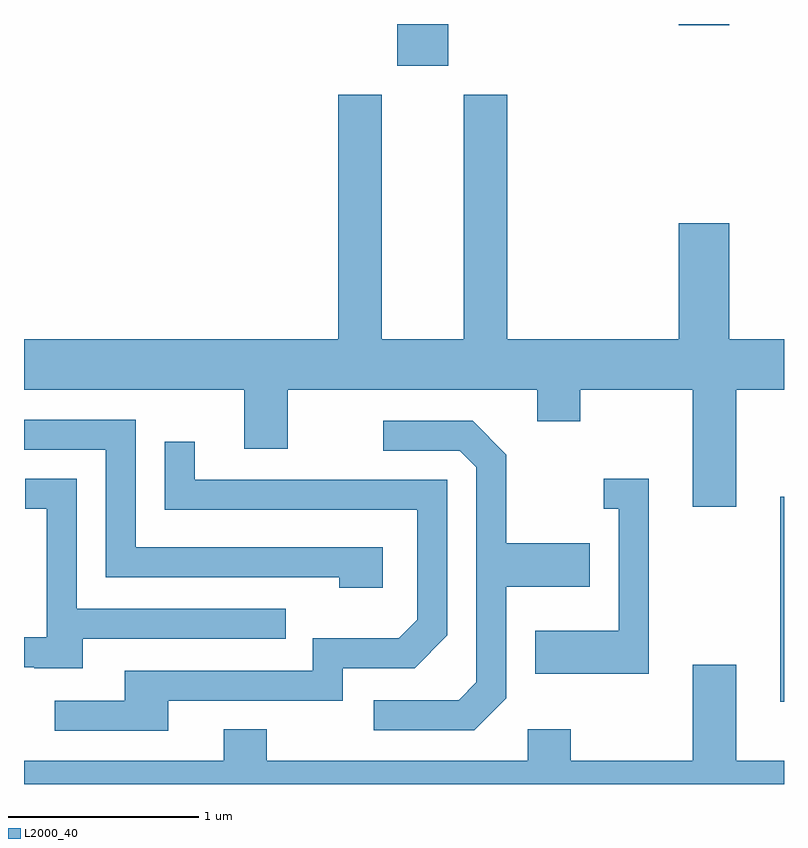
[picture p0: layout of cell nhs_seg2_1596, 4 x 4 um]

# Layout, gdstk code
import gdstk
lib = gdstk.Library(unit=1e-6, precision=1e-09)
def R(c, l, rs):  # rectangles x0, y0, x1, y1
    for r in rs: c.add(gdstk.rectangle(r[:2], r[2:], *l))
def P(c, l, *ps):  # polygons
    for p in ps: c.add(gdstk.Polygon(p, *l))
L2000_40 = (2000, 40)

nhs_seg2_1596 = lib.new_cell('nhs_seg2_1596')
R(nhs_seg2_1596, L2000_40, [(235.591,1042.236,235.611,1043.314), (233.576,1045.581,233.844,1045.802), (235.056,1045.796,235.324,1045.802)])
P(nhs_seg2_1596, L2000_40, [(235.359,1043.876),(235.611,1043.876),(235.611,1044.144),(235.324,1044.144),(235.324,1044.754),(235.056,1044.754),(235.056,1044.144),(234.154,1044.144),(234.154,1045.429),(233.926,1045.429),(233.926,1044.144),(233.494,1044.144),(233.494,1045.429),(233.266,1045.429),(233.266,1044.144),(231.611,1044.144),(231.611,1043.876),(232.771,1043.876),(232.771,1043.566),(232.999,1043.566),(232.999,1043.876),(234.311,1043.876),(234.311,1043.711),(234.539,1043.711),(234.539,1043.876),(235.131,1043.876),(235.131,1043.261),(235.359,1043.261)],
  [(233.499,1043.049),(232.199,1043.049),(232.199,1043.719),(231.611,1043.719),(231.611,1043.561),(232.041,1043.561),(232.041,1042.891),(233.271,1042.891),(233.271,1042.836),(233.499,1042.836)],
  [(234.149,1042.254),(234.149,1042.841),(234.589,1042.841),(234.589,1043.069),(234.149,1043.069),(234.149,1043.536),(233.972,1043.714),(233.503,1043.714),(233.503,1043.556),(233.904,1043.556),(233.991,1043.469),(233.991,1042.337),(233.899,1042.244),(233.453,1042.244),(233.453,1042.086),(233.982,1042.086)],
  [(232.369,1042.241),(233.289,1042.241),(233.289,1042.411),(233.667,1042.411),(233.839,1042.584),(233.839,1043.404),(232.509,1043.404),(232.509,1043.603),(232.351,1043.603),(232.351,1043.246),(233.681,1043.246),(233.681,1042.667),(233.584,1042.569),(233.131,1042.569),(233.131,1042.399),(232.141,1042.399),(232.141,1042.239),(231.773,1042.239),(231.773,1042.081),(232.369,1042.081)],
  [(231.919,1042.566),(232.988,1042.566),(232.988,1042.724),(231.889,1042.724),(231.889,1043.409),(231.618,1043.409),(231.618,1043.251),(231.731,1043.251),(231.731,1042.574),(231.611,1042.574),(231.611,1042.416),(231.665,1042.416),(231.665,1042.411),(231.919,1042.411)],
  [(234.899,1043.409),(234.663,1043.409),(234.663,1043.251),(234.741,1043.251),(234.741,1042.609),(234.301,1042.609),(234.301,1042.381),(234.899,1042.381)],
  [(235.611,1041.924),(235.359,1041.924),(235.359,1042.429),(235.131,1042.429),(235.131,1041.924),(234.489,1041.924),(234.489,1042.089),(234.261,1042.089),(234.261,1041.924),(232.889,1041.924),(232.889,1042.089),(232.661,1042.089),(232.661,1041.924),(231.611,1041.924),(231.611,1041.802),(235.611,1041.802)])

lib.write_gds('nhs_seg2_1596.gds')
